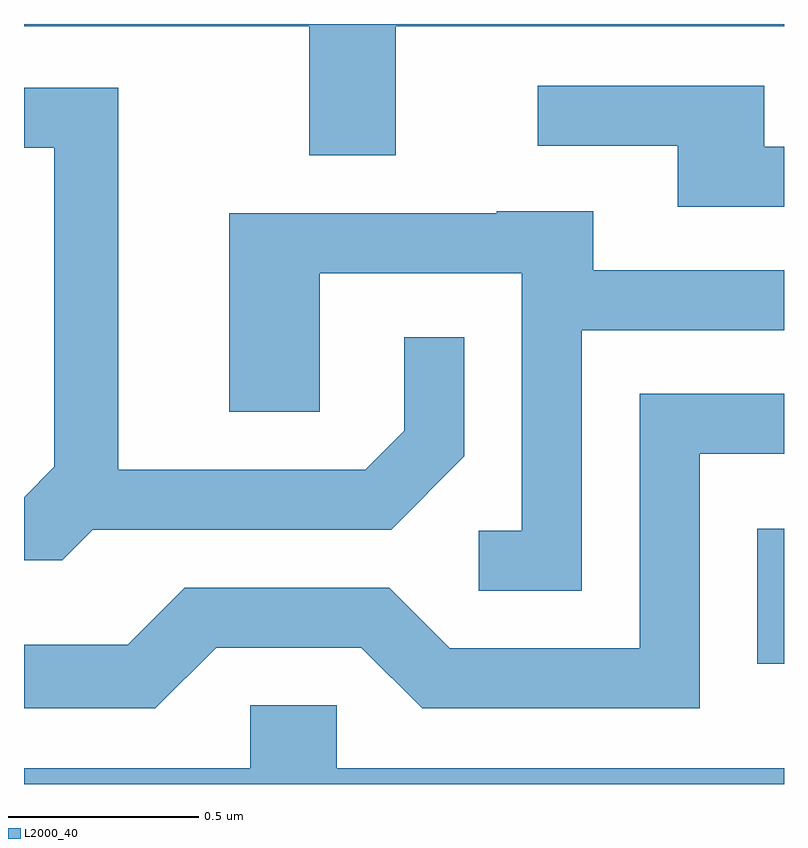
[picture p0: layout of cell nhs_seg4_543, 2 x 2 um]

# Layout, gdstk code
import gdstk
lib = gdstk.Library(unit=1e-6, precision=1e-09)
def R(c, l, rs):  # rectangles x0, y0, x1, y1
    for r in rs: c.add(gdstk.rectangle(r[:2], r[2:], *l))
def P(c, l, *ps):  # polygons
    for p in ps: c.add(gdstk.Polygon(p, *l))
L2000_40 = (2000, 40)

nhs_seg4_543 = lib.new_cell('nhs_seg4_543')
R(nhs_seg4_543, L2000_40, [(190.541,1386.298,190.611,1386.654)])
P(nhs_seg4_543, L2000_40, [(189.589,1387.976),(190.611,1387.976),(190.611,1387.982),(188.611,1387.982),(188.611,1387.976),(189.361,1387.976),(189.361,1387.636),(189.589,1387.636)],
  [(190.611,1387.659),(190.559,1387.659),(190.559,1387.819),(189.963,1387.819),(189.963,1387.661),(190.331,1387.661),(190.331,1387.501),(190.611,1387.501)],
  [(188.792,1386.651),(189.577,1386.651),(189.769,1386.844),(189.769,1387.158),(189.611,1387.158),(189.611,1386.912),(189.509,1386.809),(188.859,1386.809),(188.859,1387.814),(188.611,1387.814),(188.611,1387.656),(188.691,1387.656),(188.691,1386.817),(188.611,1386.736),(188.611,1386.571),(188.712,1386.571)],
  [(190.079,1387.176),(190.611,1387.176),(190.611,1387.334),(190.109,1387.334),(190.109,1387.489),(189.855,1387.489),(189.855,1387.484),(189.151,1387.484),(189.151,1386.961),(189.389,1386.961),(189.389,1387.326),(189.921,1387.326),(189.921,1386.649),(189.808,1386.649),(189.808,1386.491),(190.079,1386.491)],
  [(189.117,1386.341),(189.499,1386.341),(189.659,1386.181),(190.389,1386.181),(190.389,1386.851),(190.611,1386.851),(190.611,1387.009),(190.231,1387.009),(190.231,1386.339),(189.732,1386.339),(189.572,1386.499),(189.034,1386.499),(188.884,1386.349),(188.611,1386.349),(188.611,1386.181),(188.957,1386.181)],
  [(190.611,1386.024),(189.434,1386.024),(189.434,1386.189),(189.206,1386.189),(189.206,1386.024),(188.611,1386.024),(188.611,1385.982),(190.611,1385.982)])

lib.write_gds('nhs_seg4_543.gds')
